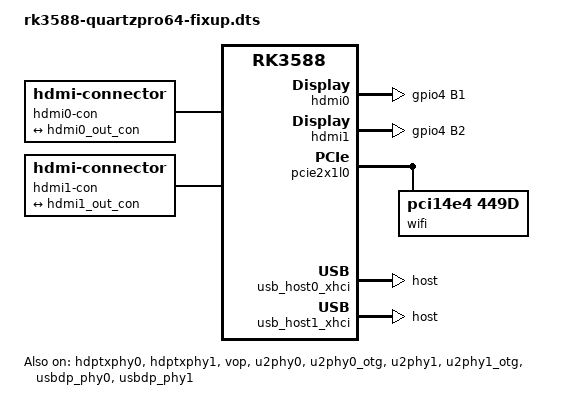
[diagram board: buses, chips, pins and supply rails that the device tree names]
// SPDX-License-Identifier: (GPL-2.0+ OR MIT)

#include <dt-bindings/soc/rockchip,vop2.h>

#include "rk3588-quartzpro64.dts"

/* Display path, absent upstream; follows rk3588-evb1-v10.dts (same reference design). */
/ {
	hdmi0-con {
		compatible = "hdmi-connector";
		type = "a";

		port {
			hdmi0_con_in: endpoint {
				remote-endpoint = <&hdmi0_out_con>;
			};
		};
	};

	hdmi1-con {
		compatible = "hdmi-connector";
		type = "a";

		port {
			hdmi1_con_in: endpoint {
				remote-endpoint = <&hdmi1_out_con>;
			};
		};
	};
};

&pinctrl {
	hdmi {
		hdmi0_tx_on_h: hdmi0-tx-on-h {
			rockchip,pins = <4 RK_PB1 RK_FUNC_GPIO &pcfg_pull_none>;
		};

		hdmi1_tx_on_h: hdmi1-tx-on-h {
			rockchip,pins = <4 RK_PB2 RK_FUNC_GPIO &pcfg_pull_none>;
		};
	};
};

&hdmi0 {
	frl-enable-gpios = <&gpio4 RK_PB1 GPIO_ACTIVE_LOW>;
	pinctrl-0 = <&hdmim0_tx0_cec &hdmim0_tx0_hpd
		     &hdmim0_tx0_scl &hdmim0_tx0_sda &hdmi0_tx_on_h>;
	pinctrl-names = "default";
	status = "okay";
};

&hdmi0_in {
	hdmi0_in_vp0: endpoint {
		remote-endpoint = <&vp0_out_hdmi0>;
	};
};

&hdmi0_out {
	hdmi0_out_con: endpoint {
		remote-endpoint = <&hdmi0_con_in>;
	};
};

&hdmi1 {
	frl-enable-gpios = <&gpio4 RK_PB2 GPIO_ACTIVE_LOW>;
	pinctrl-0 = <&hdmim2_tx1_cec &hdmim0_tx1_hpd
		     &hdmim1_tx1_scl &hdmim1_tx1_sda &hdmi1_tx_on_h>;
	pinctrl-names = "default";
	status = "okay";
};

&hdmi1_in {
	hdmi1_in_vp1: endpoint {
		remote-endpoint = <&vp1_out_hdmi1>;
	};
};

&hdmi1_out {
	hdmi1_out_con: endpoint {
		remote-endpoint = <&hdmi1_con_in>;
	};
};

&hdptxphy0 {
	status = "okay";
};

&hdptxphy1 {
	status = "okay";
};

&vop {
	status = "okay";
};

&vop_mmu {
	status = "okay";
};

&vp0 {
	vp0_out_hdmi0: endpoint@ROCKCHIP_VOP2_EP_HDMI0 {
		reg = <ROCKCHIP_VOP2_EP_HDMI0>;
		remote-endpoint = <&hdmi0_in_vp0>;
	};
};

&vp1 {
	vp1_out_hdmi1: endpoint@ROCKCHIP_VOP2_EP_HDMI1 {
		reg = <ROCKCHIP_VOP2_EP_HDMI1>;
		remote-endpoint = <&hdmi1_in_vp1>;
	};
};

/* brcmfmac can't discover the AP6275P's 32.768kHz LPO by enumeration alone. */
&pcie2x1l0 {
	pcie@0,0 {
		reg = <0x200000 0 0 0 0>;
		#address-cells = <3>;
		#size-cells = <2>;
		ranges;
		device_type = "pci";
		bus-range = <0x20 0x2f>;

		wifi: wifi@0,0 {
			compatible = "pci14e4,449d";
			reg = <0x210000 0 0 0 0>;
			clocks = <&hym8563>;
			clock-names = "lpo";
		};
	};
};

/* USB3 is absent upstream (USB2 only); nodes follow the vendor DTB for this board. */
&u2phy0 {
	status = "okay";
};

&u2phy0_otg {
	status = "okay";
};

&u2phy1 {
	status = "okay";
};

&u2phy1_otg {
	phy-supply = <&vcc5v0_host>;
	status = "okay";
};

&usbdp_phy0 {
	status = "okay";
};

/* No dp-lane-mux: all lanes to USB3, matching PcdDp1LaneMux's default in the DSC. */
&usbdp_phy1 {
	status = "okay";
};

/* Vendor says otg+usb-role-switch, but there is no typec node upstream to switch with. */
&usb_host0_xhci {
	dr_mode = "host";
	status = "okay";
};

&usb_host1_xhci {
	dr_mode = "host";
	status = "okay";
};

/* Codec domains have no supply upstream; vdd_vdenc_s0 is a range rail nothing else raises. */
&pd_rkvdec0 {
	domain-supply = <&vdd_vdenc_s0>;
};

&pd_rkvdec1 {
	domain-supply = <&vdd_vdenc_s0>;
};

&pd_venc0 {
	domain-supply = <&vdd_vdenc_s0>;
};

&pd_venc1 {
	domain-supply = <&vdd_vdenc_s0>;
};
